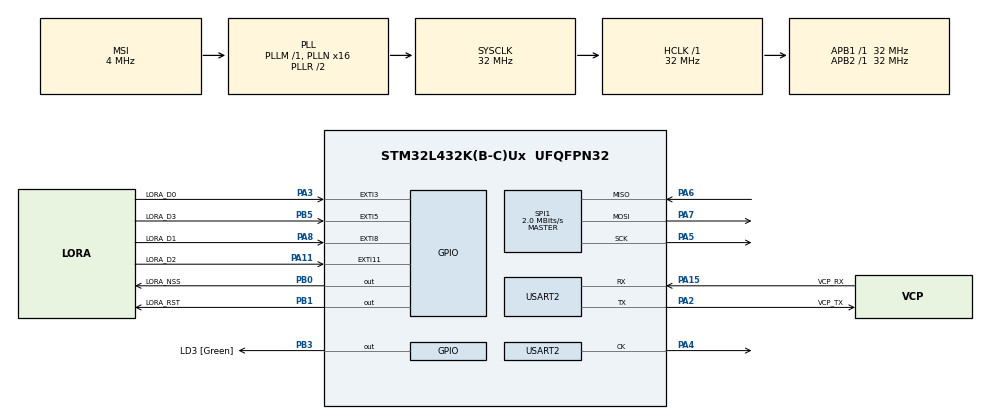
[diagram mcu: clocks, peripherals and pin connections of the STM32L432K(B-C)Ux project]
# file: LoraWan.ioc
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Mcu.Family=STM32L4
Mcu.Name=STM32L432K(B-C)Ux
Mcu.Package=UFQFPN32
NVIC.PriorityGroup=NVIC_PRIORITYGROUP_4
NVIC.USART2_IRQn=true\:0\:0\:false\:false\:true\:true\:true\:true
PA0.GPIO_Label=MCO [High speed clock in]
PA0.Mode=HSE-External-Clock-Source-for-LittleOrca
PA0.Signal=RCC_CK_IN
PA11.GPIO_Label=LORA_D2
PA11.Signal=GPXTI11
PA13\ (JTMS-SWDIO).GPIO_Label=SWDIO
PA13\ (JTMS-SWDIO).Mode=Serial_Wire
PA13\ (JTMS-SWDIO).Signal=SYS_JTMS-SWDIO
PA14\ (JTCK-SWCLK).GPIO_Label=SWCLK
PA14\ (JTCK-SWCLK).Mode=Serial_Wire
PA14\ (JTCK-SWCLK).Signal=SYS_JTCK-SWCLK
PA15\ (JTDI).GPIO_Label=VCP_RX
PA15\ (JTDI).Mode=Synchronous
PA15\ (JTDI).Signal=USART2_RX
PA2.GPIO_Label=VCP_TX
PA2.Mode=Synchronous
PA2.Signal=USART2_TX
PA3.GPIO_Label=LORA_D0
PA3.Signal=GPXTI3
PA4.Mode=Synchronous
PA4.Signal=USART2_CK
PA5.Mode=Full_Duplex_Master
PA5.Signal=SPI1_SCK
PA6.Mode=Full_Duplex_Master
PA6.Signal=SPI1_MISO
PA7.Mode=Full_Duplex_Master
PA7.Signal=SPI1_MOSI
PA8.GPIO_Label=LORA_D1
PA8.Signal=GPXTI8
PB0.GPIO_Label=LORA_NSS
PB0.PinState=GPIO_PIN_SET
PB0.Signal=GPIO_Output
PB1.GPIO_Label=LORA_RST
PB1.PinState=GPIO_PIN_SET
PB1.Signal=GPIO_Output
PB3\ (JTDO-TRACESWO).GPIO_Label=LD3 [Green]
PB3\ (JTDO-TRACESWO).Signal=GPIO_Output
PB5.GPIO_Label=LORA_D3
PB5.Signal=GPXTI5
PC14-OSC32_IN\ (PC14).Mode=LSE-External-Oscillator
PC14-OSC32_IN\ (PC14).Signal=RCC_OSC32_IN
PC15-OSC32_OUT\ (PC15).Mode=LSE-External-Oscillator
PC15-OSC32_OUT\ (PC15).Signal=RCC_OSC32_OUT
ProjectManager.HeapSize=0x200
ProjectManager.StackSize=0x400
ProjectManager.TargetToolchain=STM32CubeIDE
RCC.AHBFreq_Value=32000000
RCC.APB1Freq_Value=32000000
RCC.APB1TimFreq_Value=32000000
RCC.APB2Freq_Value=32000000
RCC.APB2TimFreq_Value=32000000
RCC.CortexFreq_Value=32000000
RCC.HCLKFreq_Value=32000000
RCC.HSE_VALUE=8000000
RCC.HSI16_VALUE=16000000
RCC.HSI48_VALUE=48000000
RCC.HSI_VALUE=16000000
RCC.MSI_VALUE=4000000
RCC.PLLMUL=RCC_PLLMUL_4
RCC.PLLN=16
RCC.RTCClockSelection=RCC_RTCCLKSOURCE_LSE
RCC.SYSCLKFreq_VALUE=32000000
RCC.SYSCLKSource=RCC_SYSCLKSOURCE_PLLCLK
RCC.VCOOutputFreq_Value=64000000
RTC.AsynchPrediv=3
RTC.Date=1
RTC.Format=RTC_FORMAT_BIN
RTC.Month=RTC_MONTH_JANUARY
RTC.SynchPrediv=3
RTC.WeekDay=RTC_WEEKDAY_MONDAY
SPI1.BaudRatePrescaler=SPI_BAUDRATEPRESCALER_16
SPI1.CalculateBaudRate=2.0 MBits/s
SPI1.DataSize=SPI_DATASIZE_8BIT
SPI1.Direction=SPI_DIRECTION_2LINES
SPI1.Mode=SPI_MODE_MASTER
SPI1.VirtualType=VM_MASTER
USART2.VirtualMode-Synchronous=VM_SYNC
VP_RTC_VS_RTC_Activate.Mode=RTC_Enabled
VP_RTC_VS_RTC_Calendar.Mode=RTC_Calendar
board=NUCLEO-L432KC

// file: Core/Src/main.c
/* USER CODE BEGIN Header */
/**
  ******************************************************************************
  * @file           : main.c
  * @brief          : Main program body
  ******************************************************************************
  * @attention
  *
  * Copyright (c) 2024 STMicroelectronics.
  * All rights reserved.
  *
  * This software is licensed under terms that can be found in the LICENSE file
  * in the root directory of this software component.
  * If no LICENSE file comes with this software, it is provided AS-IS.
  *
  ******************************************************************************
  */
/* USER CODE END Header */
#include "main.h"

/* USER CODE BEGIN Includes */
#include "board.h"
#include "board-gpio.h"
#include "lorawan.h"
#include <string.h>
#include <stdbool.h>

/* USER CODE END Includes */

RTC_HandleTypeDef hrtc;

SPI_HandleTypeDef hspi1;

USART_HandleTypeDef husart2;

/* USER CODE BEGIN PV */
static Gpio_t led1;
static uint32_t count = 0;
uint8_t data[3];
uint8_t rx_data[3];
char msg[200];
/* USER CODE END PV */

void SystemClock_Config(void);
static void MX_GPIO_Init(void);
static void MX_USART2_Init(void);
static void MX_SPI1_Init(void);
static void MX_RTC_Init(void);
/* USER CODE BEGIN PFP */
static void keyCallback(void);
/* USER CODE END PFP */

/* USER CODE BEGIN 0 */
static void keyCallback(void){
    GpioToggle(&led1);
}
//static Gpio_t key;
DioIrqHandler *keyHandler = keyCallback;
/* USER CODE END 0 */

int main(void)
{

  /* MCU Configuration--------------------------------------------------------*/

  /* Reset of all peripherals, Initializes the Flash interface and the Systick. */
  HAL_Init();

  /* Configure the system clock */
  SystemClock_Config();

  /* Initialize all configured peripherals */
  MX_GPIO_Init();
  MX_USART2_Init();
  MX_SPI1_Init();
  MX_RTC_Init();
  /* USER CODE BEGIN 2 */

  GpioInit(&led1, PB_3, PIN_OUTPUT, PIN_PUSH_PULL, PIN_NO_PULL, 0);
  GpioWrite(&led1, 1);
  //GpioInit( &key, PB_7, PIN_INPUT, PIN_PUSH_PULL, PIN_PULL_UP, 0 );
  //GpioSetInterrupt( &key, IRQ_FALLING_EDGE, IRQ_HIGH_PRIORITY, keyHandler );
  Board_Init();
  uint32_t t = Board_Timer_Test(2000);
  if((t>2000 && t-2000<5)||(t<2000 && 2000-t<5)||(t==2000))
  {
	  GpioWrite(&led1, 0);
  }

  LoraWAN_Init();

  /* USER CODE END 2 */

  /* Infinite loop */
  /* USER CODE BEGIN WHILE */
  while (1)
  {
	  LoraWAN_Loop();
	  //SX1276ReadFifo(data, 3);
	  //snprintf(msg, sizeof(msg), "From fifo: %x \r\n", *data);
	  //HAL_USART_Transmit(&husart2, (uint8_t*)msg, strlen(msg), 200);
	  //HAL_Delay(1000);

    /* USER CODE END WHILE */

  }
}

void SystemClock_Config(void)
{
  RCC_OscInitTypeDef RCC_OscInitStruct = {0};
  RCC_ClkInitTypeDef RCC_ClkInitStruct = {0};

  /** Configure the main internal regulator output voltage
  */
  if (HAL_PWREx_ControlVoltageScaling(PWR_REGULATOR_VOLTAGE_SCALE1) != HAL_OK)
  {
    Error_Handler();
  }

  /** Configure LSE Drive Capability
  */
  HAL_PWR_EnableBkUpAccess();
  __HAL_RCC_LSEDRIVE_CONFIG(RCC_LSEDRIVE_LOW);

  /** Initializes the RCC Oscillators according to the specified parameters
  * in the RCC_OscInitTypeDef structure.
  */
  RCC_OscInitStruct.OscillatorType = RCC_OSCILLATORTYPE_LSE|RCC_OSCILLATORTYPE_MSI;
  RCC_OscInitStruct.LSEState = RCC_LSE_ON;
  RCC_OscInitStruct.MSIState = RCC_MSI_ON;
  RCC_OscInitStruct.MSICalibrationValue = 0;
  RCC_OscInitStruct.MSIClockRange = RCC_MSIRANGE_6;
  RCC_OscInitStruct.PLL.PLLState = RCC_PLL_ON;
  RCC_OscInitStruct.PLL.PLLSource = RCC_PLLSOURCE_MSI;
  RCC_OscInitStruct.PLL.PLLM = 1;
  RCC_OscInitStruct.PLL.PLLN = 16;
  RCC_OscInitStruct.PLL.PLLP = RCC_PLLP_DIV7;
  RCC_OscInitStruct.PLL.PLLQ = RCC_PLLQ_DIV2;
  RCC_OscInitStruct.PLL.PLLR = RCC_PLLR_DIV2;
  if (HAL_RCC_OscConfig(&RCC_OscInitStruct) != HAL_OK)
  {
    Error_Handler();
  }

  /** Initializes the CPU, AHB and APB buses clocks
  */
  RCC_ClkInitStruct.ClockType = RCC_CLOCKTYPE_HCLK|RCC_CLOCKTYPE_SYSCLK
                              |RCC_CLOCKTYPE_PCLK1|RCC_CLOCKTYPE_PCLK2;
  RCC_ClkInitStruct.SYSCLKSource = RCC_SYSCLKSOURCE_PLLCLK;
  RCC_ClkInitStruct.AHBCLKDivider = RCC_SYSCLK_DIV1;
  RCC_ClkInitStruct.APB1CLKDivider = RCC_HCLK_DIV1;
  RCC_ClkInitStruct.APB2CLKDivider = RCC_HCLK_DIV1;

  if (HAL_RCC_ClockConfig(&RCC_ClkInitStruct, FLASH_LATENCY_1) != HAL_OK)
  {
    Error_Handler();
  }

  /** Enable MSI Auto calibration
  */
  HAL_RCCEx_EnableMSIPLLMode();
}

static void MX_RTC_Init(void)
{

  RTC_TimeTypeDef sTime = {0};
  RTC_DateTypeDef sDate = {0};

  /** Initialize RTC Only
  */
  hrtc.Instance = RTC;
  hrtc.Init.HourFormat = RTC_HOURFORMAT_24;
  hrtc.Init.AsynchPrediv = 3;
  hrtc.Init.SynchPrediv = 3;
  hrtc.Init.OutPut = RTC_OUTPUT_DISABLE;
  hrtc.Init.OutPutRemap = RTC_OUTPUT_REMAP_NONE;
  hrtc.Init.OutPutPolarity = RTC_OUTPUT_POLARITY_HIGH;
  hrtc.Init.OutPutType = RTC_OUTPUT_TYPE_OPENDRAIN;
  if (HAL_RTC_Init(&hrtc) != HAL_OK)
  {
    Error_Handler();
  }

  /** Initialize RTC and set the Time and Date
  */
  sTime.Hours = 0;
  sTime.Minutes = 0;
  sTime.Seconds = 0;
  sTime.DayLightSaving = RTC_DAYLIGHTSAVING_NONE;
  sTime.StoreOperation = RTC_STOREOPERATION_RESET;
  if (HAL_RTC_SetTime(&hrtc, &sTime, RTC_FORMAT_BIN) != HAL_OK)
  {
    Error_Handler();
  }
  sDate.WeekDay = RTC_WEEKDAY_MONDAY;
  sDate.Month = RTC_MONTH_JANUARY;
  sDate.Date = 1;
  sDate.Year = 0;

  if (HAL_RTC_SetDate(&hrtc, &sDate, RTC_FORMAT_BIN) != HAL_OK)
  {
    Error_Handler();
  }

}

static void MX_SPI1_Init(void)
{

  /* SPI1 parameter configuration*/
  hspi1.Instance = SPI1;
  hspi1.Init.Mode = SPI_MODE_MASTER;
  hspi1.Init.Direction = SPI_DIRECTION_2LINES;
  hspi1.Init.DataSize = SPI_DATASIZE_8BIT;
  hspi1.Init.CLKPolarity = SPI_POLARITY_LOW;
  hspi1.Init.CLKPhase = SPI_PHASE_1EDGE;
  hspi1.Init.NSS = SPI_NSS_SOFT;
  hspi1.Init.BaudRatePrescaler = SPI_BAUDRATEPRESCALER_16;
  hspi1.Init.FirstBit = SPI_FIRSTBIT_MSB;
  hspi1.Init.TIMode = SPI_TIMODE_DISABLE;
  hspi1.Init.CRCCalculation = SPI_CRCCALCULATION_DISABLE;
  hspi1.Init.CRCPolynomial = 7;
  hspi1.Init.CRCLength = SPI_CRC_LENGTH_DATASIZE;
  hspi1.Init.NSSPMode = SPI_NSS_PULSE_ENABLE;
  if (HAL_SPI_Init(&hspi1) != HAL_OK)
  {
    Error_Handler();
  }

}

static void MX_USART2_Init(void)
{

  husart2.Instance = USART2;
  husart2.Init.BaudRate = 115200;
  husart2.Init.WordLength = USART_WORDLENGTH_8B;
  husart2.Init.StopBits = USART_STOPBITS_1;
  husart2.Init.Parity = USART_PARITY_NONE;
  husart2.Init.Mode = USART_MODE_TX_RX;
  husart2.Init.CLKPolarity = USART_POLARITY_LOW;
  husart2.Init.CLKPhase = USART_PHASE_1EDGE;
  husart2.Init.CLKLastBit = USART_LASTBIT_DISABLE;
  if (HAL_USART_Init(&husart2) != HAL_OK)
  {
    Error_Handler();
  }

}

static void MX_GPIO_Init(void)
{
  GPIO_InitTypeDef GPIO_InitStruct = {0};

  /* GPIO Ports Clock Enable */
  __HAL_RCC_GPIOC_CLK_ENABLE();
  __HAL_RCC_GPIOA_CLK_ENABLE();
  __HAL_RCC_GPIOB_CLK_ENABLE();

  /*Configure GPIO pin Output Level */
  HAL_GPIO_WritePin(GPIOB, LORA_NSS_Pin|LORA_RST_Pin, GPIO_PIN_SET);

  /*Configure GPIO pin Output Level */
  HAL_GPIO_WritePin(LD3_GPIO_Port, LD3_Pin, GPIO_PIN_RESET);

  /*Configure GPIO pins : LORA_D0_Pin LORA_D1_Pin LORA_D2_Pin */
  GPIO_InitStruct.Pin = LORA_D0_Pin|LORA_D1_Pin|LORA_D2_Pin;
  GPIO_InitStruct.Mode = GPIO_MODE_IT_RISING;
  GPIO_InitStruct.Pull = GPIO_NOPULL;
  HAL_GPIO_Init(GPIOA, &GPIO_InitStruct);

  /*Configure GPIO pins : LORA_NSS_Pin LORA_RST_Pin LD3_Pin */
  GPIO_InitStruct.Pin = LORA_NSS_Pin|LORA_RST_Pin|LD3_Pin;
  GPIO_InitStruct.Mode = GPIO_MODE_OUTPUT_PP;
  GPIO_InitStruct.Pull = GPIO_NOPULL;
  GPIO_InitStruct.Speed = GPIO_SPEED_FREQ_LOW;
  HAL_GPIO_Init(GPIOB, &GPIO_InitStruct);

  /*Configure GPIO pin : LORA_D3_Pin */
  GPIO_InitStruct.Pin = LORA_D3_Pin;
  GPIO_InitStruct.Mode = GPIO_MODE_IT_RISING;
  GPIO_InitStruct.Pull = GPIO_NOPULL;
  HAL_GPIO_Init(LORA_D3_GPIO_Port, &GPIO_InitStruct);

}

void Error_Handler(void)
{
  __disable_irq();
  while (1)
  {
  }
}
